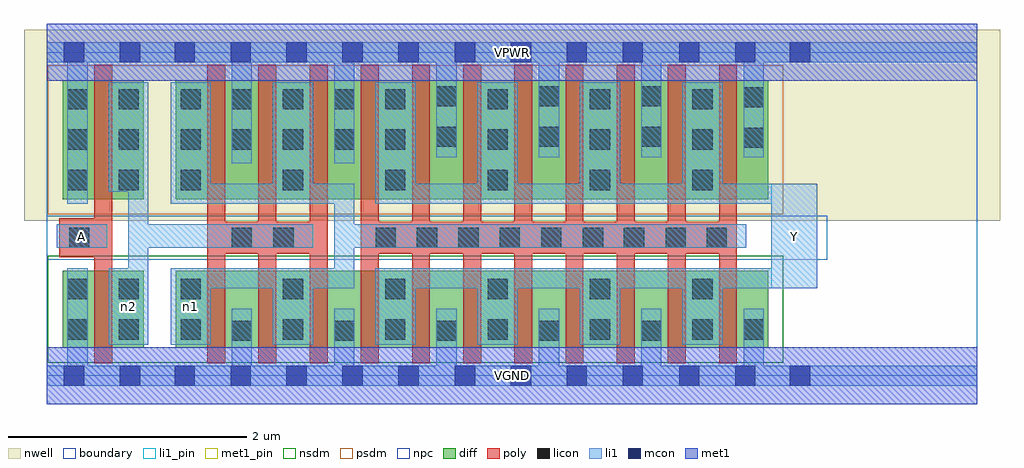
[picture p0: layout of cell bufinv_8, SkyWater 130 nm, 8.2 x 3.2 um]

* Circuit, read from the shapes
.subckt bufinv_8 A VGND VPWR Y n1 n2
XM1 n2 A VGND VSUBS sky130_fd_pr__nfet_01v8 w=0.65 l=0.15
XM2 VGND n2 n1 VSUBS sky130_fd_pr__nfet_01v8 w=0.65 l=0.15 m=3
XM3 Y n1 VGND VSUBS sky130_fd_pr__nfet_01v8 w=0.65 l=0.15 m=8
XM4 n2 A VPWR n3 sky130_fd_pr__pfet_01v8 w=1 l=0.15
XM5 VPWR n2 n1 n3 sky130_fd_pr__pfet_01v8 w=1 l=0.15 m=3
XM6 Y n1 VPWR n3 sky130_fd_pr__pfet_01v8 w=1 l=0.15 m=8
.ends

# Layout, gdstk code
import gdstk
lib = gdstk.Library(unit=1e-6, precision=1e-09)
def R(c, l, rs):  # rectangles x0, y0, x1, y1
    for r in rs: c.add(gdstk.rectangle(r[:2], r[2:], *l))
def A(c, l, x, y, w, h, nx, ny, dx, dy):  # array of equal rectangles
    R(c, l, [(x+i*dx, y+j*dy, x+i*dx+w, y+j*dy+h) for i in range(nx) for j in range(ny)])
nwell = (64, 20)
diff = (65, 20)
poly = (66, 20)
licon = (66, 44)
li1_pin = (67, 16)
li1 = (67, 20)
mcon = (67, 44)
met1_pin = (68, 16)
met1 = (68, 20)
nsdm = (93, 44)
psdm = (94, 20)
npc = (95, 20)
boundary = (235, 4)

bufinv_8 = lib.new_cell('bufinv_8')
R(bufinv_8, nwell, [(-0.19,1.305,8.01,2.91), (0,1.305,7.82,2.91)])
R(bufinv_8, diff, [(0.135,0.235,0.815,0.885), (1.085,0.235,6.065,0.885), (0.135,1.485,0.815,2.485), (1.085,1.485,6.065,2.485)])
A(bufinv_8, poly, 1.35, 0.105, 0.15, 2.51, 11, 1, 0.43, 0)
R(bufinv_8, poly, [(0.4,0.105,0.55,2.615), (0.105,0.995,0.55,1.325), (1.35,1.025,2.36,1.295), (2.64,1.025,5.8,1.295)])
A(bufinv_8, licon, 1.555, 0.295, 0.17, 0.17, 5, 1, 0.86, 0)
A(bufinv_8, licon, 1.125, 0.305, 0.17, 0.17, 6, 2, 0.86, 0.34)
A(bufinv_8, licon, 3.805, 1.075, 0.17, 0.17, 3, 1, 0.35, 0)
A(bufinv_8, licon, 0.175, 1.56, 0.17, 0.17, 1, 3, 0, 0.34)
A(bufinv_8, licon, 0.605, 1.56, 0.17, 0.17, 1, 3, 0, 0.34)
A(bufinv_8, licon, 1.125, 1.56, 0.17, 0.17, 6, 1, 0.86, 0)
A(bufinv_8, licon, 1.125, 1.9, 0.17, 0.17, 5, 2, 0.43, 0.34)
A(bufinv_8, licon, 3.705, 1.9, 0.17, 0.17, 3, 2, 0.86, 0.34)
A(bufinv_8, licon, 3.275, 1.925, 0.17, 0.17, 3, 2, 0.86, 0.34)
R(bufinv_8, licon, [(0.175,0.305,0.345,0.475), (0.605,0.305,0.775,0.475), (5.855,0.305,6.025,0.475), (0.175,0.645,0.345,0.815), (0.605,0.645,0.775,0.815), (0.19,1.075,0.36,1.245), (1.555,1.075,1.725,1.245), (1.905,1.075,2.075,1.245), (2.765,1.075,2.935,1.245), (3.11,1.075,3.28,1.245), (3.46,1.075,3.63,1.245), (4.85,1.075,5.02,1.245), (5.2,1.075,5.37,1.245), (5.545,1.075,5.715,1.245), (5.855,1.915,6.025,2.085), (5.855,2.255,6.025,2.425)])
R(bufinv_8, li1_pin, [(6.09,0.735,6.475,1.615), (0.085,1.075,0.51,1.275)])
A(bufinv_8, li1, 1.555, -0.085, 0.17, 0.65, 6, 1, 0.86, 0)
A(bufinv_8, li1, 1.9, 0.26, 0.34, 0.645, 5, 1, 0.86, 0)
A(bufinv_8, li1, 1.9, 1.445, 0.34, 1.02, 5, 1, 0.86, 0)
A(bufinv_8, li1, 3.275, 1.835, 0.17, 0.97, 4, 1, 0.86, 0)
R(bufinv_8, li1, [(0,-0.085,7.82,0.085), (0.175,-0.085,0.345,0.905), (0.52,0.26,0.855,0.905), (0.685,0.26,0.855,2.465), (1.045,0.26,1.38,0.905), (1.045,0.735,2.585,0.905), (2.415,0.735,2.585,1.615), (2.76,0.735,6.475,0.905), (6.09,0.735,6.475,1.615), (0.085,1.075,0.51,1.275), (0.685,1.075,2.24,1.275), (2.415,1.075,5.88,1.275), (0.175,1.445,0.345,2.805), (1.045,1.445,2.585,1.615), (1.045,1.445,1.38,2.465), (2.76,1.445,6.475,1.615), (0.52,1.545,0.855,2.465), (1.555,1.785,1.725,2.805), (2.415,1.785,2.585,2.805), (0,2.635,7.82,2.805)])
A(bufinv_8, mcon, 1.075, -0.085, 0.17, 0.17, 5, 2, 0.47, 2.72)
A(bufinv_8, mcon, 3.43, -0.085, 0.17, 0.17, 4, 2, 0.47, 2.72)
R(bufinv_8, mcon, [(0.145,-0.085,0.315,0.085), (0.615,-0.085,0.785,0.085), (5.315,-0.085,5.485,0.085), (5.785,-0.085,5.955,0.085), (6.245,-0.085,6.415,0.085), (0.145,2.635,0.315,2.805), (0.615,2.635,0.785,2.805), (5.315,2.635,5.485,2.805), (5.785,2.635,5.955,2.805), (6.245,2.635,6.415,2.805)])
R(bufinv_8, met1_pin, [(0,-0.24,7.82,0.24), (0,2.48,7.82,2.96)])
R(bufinv_8, met1, [(0,-0.24,7.82,0.24), (0,2.48,7.82,2.96)])
R(bufinv_8, nsdm, [(0.01,0.11,6.19,1.01)])
R(bufinv_8, psdm, [(0.01,1.36,6.19,2.61)])
R(bufinv_8, npc, [(0,0.975,6.56,1.345)])
R(bufinv_8, boundary, [(0,0,7.82,2.72)])
bufinv_8.add(gdstk.Label('A', (0.297,1.175), layer=67, texttype=5))
bufinv_8.add(gdstk.Label('Y', (6.282,1.175), layer=67, texttype=5))
bufinv_8.add(gdstk.Label('n2', (0.687,0.582), layer=67, texttype=5))
bufinv_8.add(gdstk.Label('n1', (1.212,0.582), layer=67, texttype=5))
bufinv_8.add(gdstk.Label('VPWR', (3.91,2.72), layer=68, texttype=5))
bufinv_8.add(gdstk.Label('VGND', (3.91,0), layer=68, texttype=5))
bufinv_8.add(gdstk.Label('A', (0.297,1.175), layer=67, texttype=16))
bufinv_8.add(gdstk.Label('Y', (6.282,1.175), layer=67, texttype=16))
bufinv_8.add(gdstk.Label('VPWR', (3.91,2.72), layer=68, texttype=16))
bufinv_8.add(gdstk.Label('VGND', (3.91,0), layer=68, texttype=16))

lib.write_gds('bufinv_8.gds')
